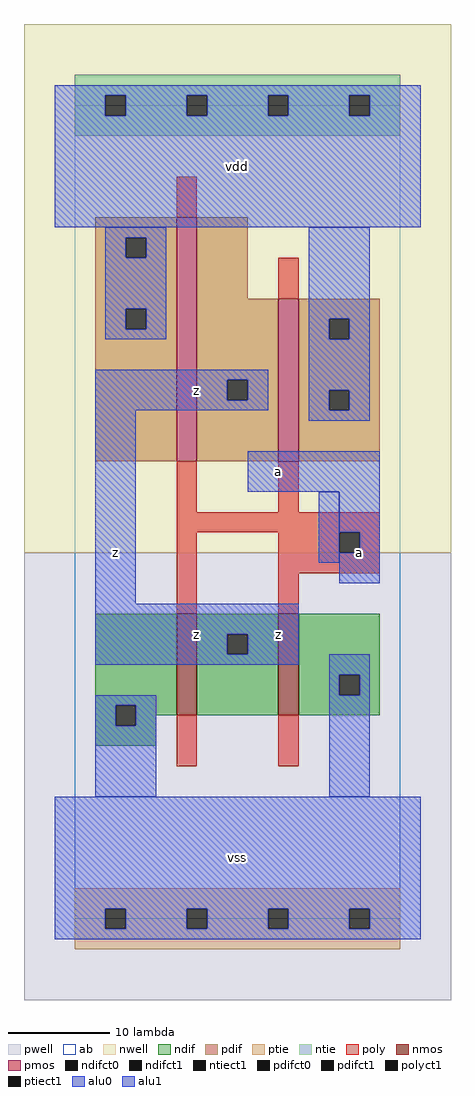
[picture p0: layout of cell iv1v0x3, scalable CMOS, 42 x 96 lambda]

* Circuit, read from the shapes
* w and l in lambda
.subckt iv1v0x3 a vdd vss z
M1 z a vss vss nfet w=10 l=2 m=2
M2 z a vdd vdd pfet w=24 l=2
M3 vdd a z vdd pfet w=16 l=2
.ends

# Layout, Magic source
magic
tech scmos
<< ab >>
rect 0 0 32 80
<< nwell >>
rect -5 36 37 88
<< pwell >>
rect -5 -8 37 36
<< poly >>
rect 10 69 12 73
rect 20 61 22 65
rect 10 40 12 45
rect 20 40 22 45
rect 10 38 30 40
rect 10 30 12 38
rect 20 36 26 38
rect 28 36 30 38
rect 20 34 30 36
rect 20 30 22 34
rect 10 15 12 20
rect 20 15 22 20
<< ndif >>
rect 2 21 10 30
rect 2 19 4 21
rect 6 20 10 21
rect 12 28 20 30
rect 12 26 15 28
rect 17 26 20 28
rect 12 20 20 26
rect 22 24 30 30
rect 22 22 26 24
rect 28 22 30 24
rect 22 20 30 22
rect 6 19 8 20
rect 2 17 8 19
<< pdif >>
rect 2 67 10 69
rect 2 65 5 67
rect 7 65 10 67
rect 2 60 10 65
rect 2 58 5 60
rect 7 58 10 60
rect 2 45 10 58
rect 12 61 17 69
rect 12 53 20 61
rect 12 51 15 53
rect 17 51 20 53
rect 12 45 20 51
rect 22 59 30 61
rect 22 57 25 59
rect 27 57 30 59
rect 22 52 30 57
rect 22 50 25 52
rect 27 50 30 52
rect 22 45 30 50
<< alu1 >>
rect -2 81 34 82
rect -2 79 3 81
rect 5 79 11 81
rect 13 79 19 81
rect 21 79 27 81
rect 29 79 34 81
rect -2 68 34 79
rect 2 53 19 54
rect 2 51 15 53
rect 17 51 19 53
rect 2 50 19 51
rect 2 31 6 50
rect 17 42 30 46
rect 26 38 30 42
rect 28 36 30 38
rect 26 33 30 36
rect 2 28 22 31
rect 2 26 15 28
rect 17 26 22 28
rect 2 25 22 26
rect -2 1 34 12
rect -2 -1 3 1
rect 5 -1 11 1
rect 13 -1 19 1
rect 21 -1 27 1
rect 29 -1 34 1
rect -2 -2 34 -1
<< ptie >>
rect 0 1 32 3
rect 0 -1 3 1
rect 5 -1 11 1
rect 13 -1 19 1
rect 21 -1 27 1
rect 29 -1 32 1
rect 0 -3 32 -1
<< ntie >>
rect 0 81 32 83
rect 0 79 3 81
rect 5 79 11 81
rect 13 79 19 81
rect 21 79 27 81
rect 29 79 32 81
rect 0 77 32 79
<< nmos >>
rect 10 20 12 30
rect 20 20 22 30
<< pmos >>
rect 10 45 12 69
rect 20 45 22 61
<< polyct1 >>
rect 26 36 28 38
<< ndifct0 >>
rect 4 19 6 21
rect 26 22 28 24
<< ndifct1 >>
rect 15 26 17 28
<< ntiect1 >>
rect 3 79 5 81
rect 11 79 13 81
rect 19 79 21 81
rect 27 79 29 81
<< ptiect1 >>
rect 3 -1 5 1
rect 11 -1 13 1
rect 19 -1 21 1
rect 27 -1 29 1
<< pdifct0 >>
rect 5 65 7 67
rect 5 58 7 60
rect 25 57 27 59
rect 25 50 27 52
<< pdifct1 >>
rect 15 51 17 53
<< alu0 >>
rect 3 67 9 68
rect 3 65 5 67
rect 7 65 9 67
rect 3 60 9 65
rect 3 58 5 60
rect 7 58 9 60
rect 3 57 9 58
rect 23 59 29 68
rect 23 57 25 59
rect 27 57 29 59
rect 23 52 29 57
rect 23 50 25 52
rect 27 50 29 52
rect 23 49 29 50
rect 24 35 26 42
rect 25 24 29 26
rect 25 22 26 24
rect 28 22 29 24
rect 2 21 8 22
rect 2 19 4 21
rect 6 19 8 21
rect 2 12 8 19
rect 25 12 29 22
<< labels >>
rlabel alu1 4 36 4 36 6 z
rlabel alu1 12 28 12 28 6 z
rlabel alu1 12 52 12 52 6 z
rlabel alu1 16 6 16 6 6 vss
rlabel alu1 20 28 20 28 6 z
rlabel alu1 20 44 20 44 6 a
rlabel alu1 16 74 16 74 6 vdd
rlabel alu1 28 36 28 36 6 a
<< end >>
